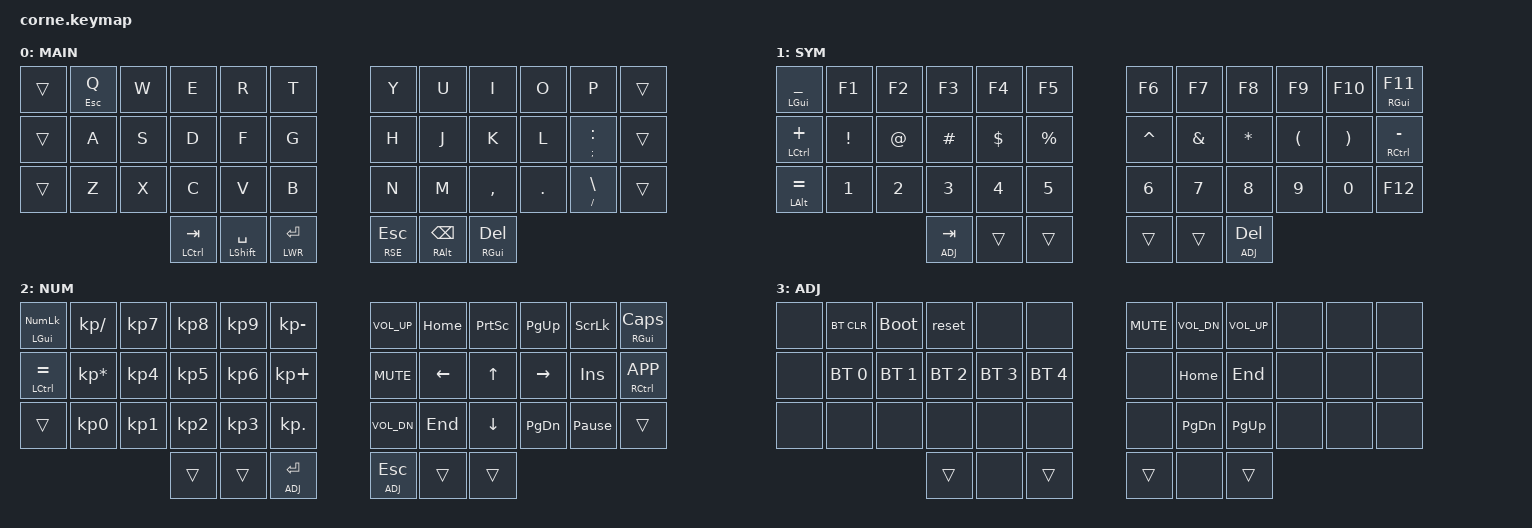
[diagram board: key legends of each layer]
/*
 * Copyright (c) 2020 The ZMK Contributors
 *
 * SPDX-License-Identifier: MIT
 */

#include <behaviors.dtsi>
#include <dt-bindings/zmk/keys.h>
#include <dt-bindings/zmk/bt.h>

#define DEF 0
#define LWR 1
#define RSE 2
#define ADJ 3

&lt { quick_tap_ms = <200>; };
&mt { quick_tap_ms = <200>; };

/ {
        keymap {
                compatible = "zmk,keymap";
                
                default_layer {
                        label = "MAIN";
// -----------------------------------------------------------------------------------------
// |    |  Q  |  W  |  E  |  R  |  T  |   |  Y  |  U   |  I  |  O  |  P  |    |
// |    |  A  |  S  |  D  |  F  |  G  |   |  H  |  J   |  K  |  L  |  ;: |    |
// |    |  Z  |  X  |  C  |  V  |  B  |   |  N  |  M   |  ,  |  .  |  /\ |    |
//                    | CTRL | SHIFT | LWR |   | RSE | ALT | GUI |
                        bindings = <
   &trans	&mt ESC Q	&kp W	&kp E	&kp R	&kp T		&kp Y	&kp U	&kp I		&kp O	&kp P		&trans
   &trans	&kp A		&kp S	&kp D	&kp F	&kp G		&kp H	&kp J	&kp K		&kp L	&mt SEMI COLON	&trans
   &trans	&kp Z		&kp X	&kp C	&kp V	&kp B		&kp N	&kp M	&kp COMMA	&kp DOT	&mt FSLH BSLH	&trans
                &mt LCTRL TAB	&mt LSHFT SPACE	&lt LWR RET		&lt RSE ESC	&mt RALT BSPC	&mt RGUI DEL
                        >;
                };
                lower_layer {
                        label = "SYM";
// -----------------------------------------------------------------------------------------
// |  _  |  F1 |  F2 |  F3 |  F4 |  F5 |   |  F6 |  F7 |  F8 |  F9 | F10 | F11 | F12 |
// |  +  |  !  |  @  |  #  |  $  |  %  |   |  ^  |  &  |  *  |  (  |  )  |  -  |
// |  =  |  1  |  2  |  3  |  4  |  5  |   |  6  |  7  |  8  |  9  |  0  |     |
//              | GUI |     | SPC |   | ENT |     | ALT |
                        bindings = <
   &mt LGUI UNDER &kp F1   &kp F2 &kp F3   &kp F4   &kp F5           &kp F6    &kp F7   &kp F8   &kp F9   &kp F10  &mt RGUI F11
   &mt LCTRL PLUS &kp EXCL &kp AT &kp HASH &kp DLLR &kp PRCNT        &kp CARET &kp AMPS &kp STAR &kp LPAR &kp RPAR &mt RCTRL MINUS
   &mt LALT EQUAL &kp N1   &kp N2 &kp N3   &kp N4   &kp N5           &kp N6    &kp N7   &kp N8   &kp N9   &kp N0   &kp F12
                                       &lt ADJ TAB &trans &trans   &trans &trans &lt ADJ DEL
                        >;
                };

                raise_layer {
                        label = "NUM";
// -----------------------------------------------------------------------------------------
// | NMLK |  /  |  7  |  8  |  9  |  -  |   | VOLU| HOME| PRSC| PGUP| SCLK| CLCK|
// | CTRL |  *  |  4  |  5  |  6  |  +  |   | MUT | LEFT|  UP | RGHT| INS | APP |
// |      |  0  |  1  |  2  |  3  |  .  |   | VOLD| END | DOWN| PGDN| PAUS|     |
//                          |     |     | ADJ |   | ADJ |     |     |
                        bindings = <
   &mt LGUI KP_NUM &kp KP_SLASH    &kp KP_N7 &kp KP_N8 &kp KP_N9 &kp KP_MINUS        &kp C_VOL_UP &kp HOME &kp PSCRN &kp PG_UP &kp SLCK &mt RGUI CAPS
   &mt LCTRL EQUAL &kp KP_MULTIPLY &kp KP_N4 &kp KP_N5 &kp KP_N6 &kp KP_PLUS         &kp C_MUTE   &kp LEFT &kp UP    &kp RIGHT &kp INS  &mt RCTRL K_APP
   &trans          &kp KP_N0       &kp KP_N1 &kp KP_N2 &kp KP_N3 &kp KP_DOT          &kp C_VOL_DN &kp END  &kp DOWN  &kp PG_DN &kp PAUSE_BREAK &trans
                                                    &trans &trans &lt ADJ RET   &lt ADJ ESC &trans &trans
                        >;
                };
                adjust_layer {
                        label = "ADJ";
// -----------------------------------------------------------------------------------------
// |     |BTCLR| BLDR| RST |     |     |   | MUT | VOLD| VOLU|     |      |
// |     | BT0 | BT1 | BT2 | BT3 | BT4 |   |     | HOME| END |     |      |    |
// |     |     |     |     |     |     |   |     | PGDN| PGUP|     |      |    |
//                   |     |     |     |   |     |     |     |
                        bindings = <
   &none	&bt BT_CLR  &bootloader	&reset	&none        &none			&kp C_MUTE	&kp C_VOL_DN	&kp C_VOL_UP	&none	&none	&none
   &none	&bt BT_SEL 0 &bt BT_SEL 1 &bt BT_SEL 2 &bt BT_SEL 3 &bt BT_SEL 4	&none		&kp HOME	&kp END		&none	&none	&none
   &none	&none        &none        &none        &none        &none		&none		&kp PG_DN	&kp PG_UP	&none	&none	&none
                                                           &trans &none &trans       &trans &none &trans
                        >;
                };
        };
};
